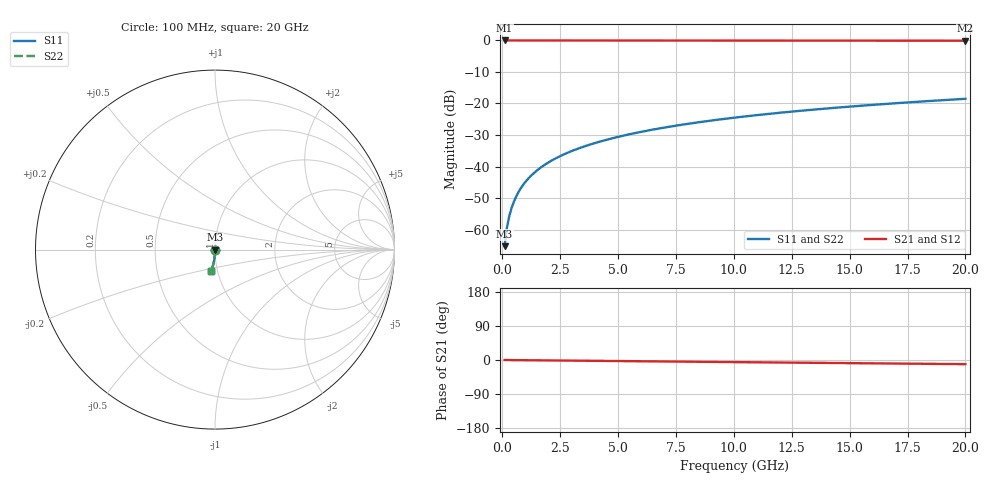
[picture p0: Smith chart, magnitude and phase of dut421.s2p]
! Touchstone file exported from HFSS 2026.1.0
!  File:  C:/ffzhzh/LocalFiles/Ansys_Project_Files/temp_train_TSV_421_1783020885_55676.aedt
!  Generated:  03:36:06 AM Jul  3, 2026
!  Design:  TSV
!  Project:  temp_train_TSV_421_1783020885_55676
! Variables:
!  h_bsmrdl = 2um
!  h_ox = 20um
!  h_rdl = 5um
!  h_sub = 93.94um
!  h_tmrdl = 5um
!  h_tsv = 93.94um
!  h_via = 3um
!  l_bsmrdl = 300um
!  l_sub = 424.56um
!  l_tmrdl = 200um
!  m_sub = 200um
!  pitch = 29.83um
!  r_tsv = 12.28um
!  s_tmrdl = 10um
!  w_bsmrdl = 18um
!  w_sub = 500um
!  w_tmrdl = 12um
!  x_tsv_center1 = 206um
!  x_tsv_center2 = 524um
!  x_tsv_center3 = 736um
!  x_tsv_center4 = 1054um
!  x_tsv_center5 = 1266um
!  x_tsv_center6 = 1584um
# GHz S MA R 50.000000
! Terminal data exported
! Port[1] = TSV1_1_T1
! Port[2] = TSV1_1_T2
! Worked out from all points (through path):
!   200 points, 100 MHz to 20 GHz, reference 50 ohm
!   highest |S21| = 0.00 dB at 100 MHz (marker M1); lowest = -0.1 dB at 20 GHz (marker M2)
!   group delay of S21, straight-line fit = 1.52 ps
!   lowest |S11| = -65.3 dB at 100 MHz (marker M3), VSWR 1.00, Z = 50 - j0.0532 ohm
!   |S11| at or under -10 dB: start of sweep to end of sweep
!   |S22| runs from -65.3 to -18.5 dB; largest |S21 - S12| = 2.2e-15
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0.1  0.0005456 -76.9  0.9999 -0.1  0.9999 -0.1  0.0005456 -76.9
! Gamma 0 0 0 0
! Port Impedance 50 0 50 0
0.2  0.00108 -82.2  0.9999 -0.1  0.9999 -0.1  0.00108 -82.2
0.3  0.001629 -83.8  0.9998 -0.2  0.9998 -0.2  0.001629 -83.8
0.4  0.002192 -84.5  0.9998 -0.2  0.9998 -0.2  0.002192 -84.5
0.5  0.002765 -84.9  0.9997 -0.3  0.9997 -0.3  0.002765 -84.9
0.7  0.003934 -85.6  0.9997 -0.4  0.9997 -0.4  0.003934 -85.6
0.8  0.004525 -85.9  0.9996 -0.5  0.9996 -0.5  0.004525 -85.9
1  0.005713 -86.5  0.9996 -0.6  0.9996 -0.6  0.005713 -86.5
1.2  0.006904 -87.0  0.9995 -0.7  0.9995 -0.7  0.006904 -87.0
1.4  0.008096 -87.5  0.9995 -0.8  0.9995 -0.8  0.008096 -87.5
1.7  0.009882 -88.0  0.9994 -1.0  0.9994 -1.0  0.009882 -88.0
2  0.01167 -88.5  0.9994 -1.1  0.9994 -1.1  0.01167 -88.5
2.7  0.01583 -89.3  0.9993 -1.5  0.9993 -1.5  0.01583 -89.3
3.5  0.0206 -90.0  0.9991 -2.0  0.9991 -2.0  0.0206 -90.0
4.2  0.02478 -90.6  0.9989 -2.3  0.9989 -2.3  0.02478 -90.6
5  0.02956 -91.2  0.9987 -2.8  0.9987 -2.8  0.02956 -91.2
6.8  0.04033 -92.4  0.9982 -3.8  0.9982 -3.8  0.04033 -92.4
8.3  0.04931 -93.3  0.9977 -4.6  0.9977 -4.6  0.04931 -93.3
10.1  0.06008 -94.4  0.997 -5.6  0.997 -5.6  0.06008 -94.4
13.4  0.07974 -96.4  0.9954 -7.4  0.9954 -7.4  0.07974 -96.4
16.7  0.09929 -98.3  0.9935 -9.2  0.9935 -9.2  0.09929 -98.3
20  0.1187 -100.2  0.9912 -11.0  0.9912 -11.0  0.1187 -100.2
